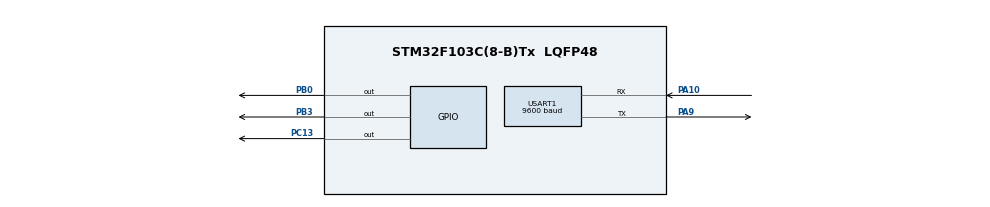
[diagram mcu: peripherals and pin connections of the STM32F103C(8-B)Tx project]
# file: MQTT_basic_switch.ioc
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Mcu.Family=STM32F1
PD1-OSC_OUT.Mode=HSE-External-Oscillator
PA10.Mode=Asynchronous
USART1.BaudRate=9600
PC13-TAMPER-RTC.Signal=GPIO_Output
NVIC.TIM1_UP_IRQn=true\:0\:0\:false\:false\:true\:true\:true
PD0-OSC_IN.Signal=RCC_OSC_IN
ProjectManager.StackSize=0x400
PD1-OSC_OUT.Signal=RCC_OSC_OUT
PA13.Signal=SYS_JTMS-SWDIO
PA9.Mode=Asynchronous
TIM1.Prescaler=1023
ProjectManager.TargetToolchain=STM32CubeIDE
PA9.Signal=USART1_TX
PD0-OSC_IN.Mode=HSE-External-Oscillator
board=custom
RCC.APB2Freq_Value=8000000
PA14.Mode=Serial_Wire
PA13.Mode=Serial_Wire
Mcu.Name=STM32F103C(8-B)Tx
VP_TIM1_VS_ClockSourceINT.Mode=Internal
PB3.Signal=GPIO_Output
Mcu.Package=LQFP48
USART1.VirtualMode=VM_ASYNC
PA10.Signal=USART1_RX
PA14.Signal=SYS_JTCK-SWCLK
ProjectManager.HeapSize=0x200
NVIC.PriorityGroup=NVIC_PRIORITYGROUP_4
NVIC.USART1_IRQn=true\:0\:0\:false\:false\:true\:true\:true
RCC.APB1Freq_Value=8000000
PB0.Signal=GPIO_Output

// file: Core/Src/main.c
/* USER CODE BEGIN Header */
/**
  ******************************************************************************
  * @file           : main.c
  * @brief          : Main program body
  ******************************************************************************
  * @attention
  *
  * <h2><center>&copy; Copyright (c) 2021 STMicroelectronics.
  * All rights reserved.</center></h2>
  *
  * This software component is licensed by ST under BSD 3-Clause license,
  * the "License"; You may not use this file except in compliance with the
  * License. You may obtain a copy of the License at:
  *                        opensource.org/licenses/BSD-3-Clause
  *
  ******************************************************************************
  */
/* USER CODE END Header */
#include "main.h"

/* USER CODE BEGIN Includes */

#include <string.h>

/* USER CODE END Includes */

TIM_HandleTypeDef htim1;

UART_HandleTypeDef huart1;

void SystemClock_Config(void);
static void MX_GPIO_Init(void);
static void MX_TIM1_Init(void);
static void MX_USART1_UART_Init(void);

int main(void)
{

  /* MCU Configuration--------------------------------------------------------*/

  /* Reset of all peripherals, Initializes the Flash interface and the Systick. */
  HAL_Init();

  /* Configure the system clock */
  SystemClock_Config();

  /* Initialize all configured peripherals */
  MX_GPIO_Init();
  MX_TIM1_Init();
  MX_USART1_UART_Init();

  /* Infinite loop */
  /* USER CODE BEGIN WHILE */

  extern uint8_t send_p;
  uint8_t server_URL[45] = "AT+CIPSTART=\"TCP\",\"broker.hivemq.com\",1883\r\n";

  //initialization MQTT
  uint8_t connection_send[16] = "AT+CIPSEND=14\r\n";
  uint8_t MQTT_start[15] = {0x10,0x0C,0x00,0x04,0x4D,0x51,0x54,0x54,0x04,0x02,0x00,0x3C,0x00,0x00};

  //sending message in topic

  uint8_t ping_send[15] = "AT+CIPSEND=2\r\n";
  uint8_t ping[3] = {0xC0, 0x00};

  //uint8_t on_send[16] = "AT+CIPSEND=14\r\n";
  //uint8_t on[15] = {0x30,0x0C,0x00,0x08,0x73,0x63,0x6F,0x6F,0x74,0x65,0x72,0x31,0x6F,0x6E};

  uint8_t buf[27];

  //hearing topic
  uint8_t subscribe_size[16] = "AT+CIPSEND=15\r\n";
  uint8_t subscribe[16] = {0x82,0x0D,0x00,0x01,0x00,0x08,0x73,0x63,0x6F,0x6F,0x74,0x65,0x72,0x31,0x00};

  HAL_GPIO_WritePin(GPIOB, GPIO_PIN_0, 0);
  HAL_GPIO_WritePin(GPIOB, GPIO_PIN_3, 1);

  //start
  HAL_Delay(15000);

  HAL_UART_Transmit_IT(&huart1, server_URL, 44);
  while( HAL_UART_GetState (&huart1) == HAL_UART_STATE_BUSY_TX );

  HAL_Delay(2000);

  HAL_UART_Transmit_IT(&huart1, connection_send, 15);
  while( HAL_UART_GetState (&huart1) == HAL_UART_STATE_BUSY_TX );

  HAL_Delay(2000);

  HAL_UART_Transmit_IT(&huart1, MQTT_start, 14);
  while( HAL_UART_GetState (&huart1) == HAL_UART_STATE_BUSY_TX );

  HAL_Delay(2000);

  HAL_UART_Transmit_IT(&huart1, subscribe_size, 15);
  while( HAL_UART_GetState (&huart1) == HAL_UART_STATE_BUSY_TX );

  HAL_Delay(2000);

  HAL_UART_Transmit_IT(&huart1, subscribe, 15);
  while( HAL_UART_GetState (&huart1) == HAL_UART_STATE_BUSY_TX );

  HAL_UART_AbortTransmit(&huart1);

  HAL_Delay(2000);

  HAL_GPIO_WritePin(GPIOB, GPIO_PIN_0, 1);
  HAL_GPIO_WritePin(GPIOB, GPIO_PIN_3, 0);

  //initialization timer 1
  HAL_TIM_Base_Start_IT(&htim1);

  while (1)
  {

	//wait until the symbol ";" arrives
	HAL_UART_Receive_IT (&huart1, buf, 1);
	while( HAL_UART_GetState (&huart1) == HAL_UART_STATE_BUSY_RX)
	{
	  if (send_p)
	  {
		  HAL_UART_AbortReceive(&huart1);

		  HAL_UART_Transmit_IT(&huart1, ping_send, 14);
		  while( HAL_UART_GetState (&huart1) == HAL_UART_STATE_BUSY_TX );

		  //HAL_Delay(2000);

		  HAL_UART_AbortTransmit(&huart1);
		  HAL_UART_Receive_IT (&huart1, buf, 14);
		  while( HAL_UART_GetState (&huart1) == HAL_UART_STATE_BUSY_RX );
		  HAL_UART_AbortReceive(&huart1);

		  HAL_UART_Transmit_IT(&huart1, ping, 2);
		  while( HAL_UART_GetState (&huart1) == HAL_UART_STATE_BUSY_TX );

		  send_p = 0;
		  HAL_UART_Receive_IT (&huart1, buf, 1);
	  }
	}

	if (buf[0] == ';')
	{
		HAL_UART_Receive_IT (&huart1, buf, 2);
		while( HAL_UART_GetState (&huart1) == HAL_UART_STATE_BUSY_RX );

		buf[2] = 0;//end \0 in string

		if (!strcmp(buf, "on"))
		{
			HAL_GPIO_WritePin (GPIOC, GPIO_PIN_13, 0);
		}
		else if (!strcmp(buf, "of"))
		{
			HAL_GPIO_WritePin (GPIOC, GPIO_PIN_13, 1);
		}
	}
    /* USER CODE END WHILE */

  }
}

void SystemClock_Config(void)
{
  RCC_OscInitTypeDef RCC_OscInitStruct = {0};
  RCC_ClkInitTypeDef RCC_ClkInitStruct = {0};

  /** Initializes the RCC Oscillators according to the specified parameters
  * in the RCC_OscInitTypeDef structure.
  */
  RCC_OscInitStruct.OscillatorType = RCC_OSCILLATORTYPE_HSI;
  RCC_OscInitStruct.HSIState = RCC_HSI_ON;
  RCC_OscInitStruct.HSICalibrationValue = RCC_HSICALIBRATION_DEFAULT;
  RCC_OscInitStruct.PLL.PLLState = RCC_PLL_NONE;
  if (HAL_RCC_OscConfig(&RCC_OscInitStruct) != HAL_OK)
  {
    Error_Handler();
  }
  /** Initializes the CPU, AHB and APB buses clocks
  */
  RCC_ClkInitStruct.ClockType = RCC_CLOCKTYPE_HCLK|RCC_CLOCKTYPE_SYSCLK
                              |RCC_CLOCKTYPE_PCLK1|RCC_CLOCKTYPE_PCLK2;
  RCC_ClkInitStruct.SYSCLKSource = RCC_SYSCLKSOURCE_HSI;
  RCC_ClkInitStruct.AHBCLKDivider = RCC_SYSCLK_DIV1;
  RCC_ClkInitStruct.APB1CLKDivider = RCC_HCLK_DIV1;
  RCC_ClkInitStruct.APB2CLKDivider = RCC_HCLK_DIV1;

  if (HAL_RCC_ClockConfig(&RCC_ClkInitStruct, FLASH_LATENCY_0) != HAL_OK)
  {
    Error_Handler();
  }
}

static void MX_TIM1_Init(void)
{

  TIM_ClockConfigTypeDef sClockSourceConfig = {0};
  TIM_MasterConfigTypeDef sMasterConfig = {0};

  htim1.Instance = TIM1;
  htim1.Init.Prescaler = 1023;
  htim1.Init.CounterMode = TIM_COUNTERMODE_UP;
  htim1.Init.Period = 65535;
  htim1.Init.ClockDivision = TIM_CLOCKDIVISION_DIV1;
  htim1.Init.RepetitionCounter = 0;
  htim1.Init.AutoReloadPreload = TIM_AUTORELOAD_PRELOAD_DISABLE;
  if (HAL_TIM_Base_Init(&htim1) != HAL_OK)
  {
    Error_Handler();
  }
  sClockSourceConfig.ClockSource = TIM_CLOCKSOURCE_INTERNAL;
  if (HAL_TIM_ConfigClockSource(&htim1, &sClockSourceConfig) != HAL_OK)
  {
    Error_Handler();
  }
  sMasterConfig.MasterOutputTrigger = TIM_TRGO_RESET;
  sMasterConfig.MasterSlaveMode = TIM_MASTERSLAVEMODE_DISABLE;
  if (HAL_TIMEx_MasterConfigSynchronization(&htim1, &sMasterConfig) != HAL_OK)
  {
    Error_Handler();
  }

}

static void MX_USART1_UART_Init(void)
{

  huart1.Instance = USART1;
  huart1.Init.BaudRate = 9600;
  huart1.Init.WordLength = UART_WORDLENGTH_8B;
  huart1.Init.StopBits = UART_STOPBITS_1;
  huart1.Init.Parity = UART_PARITY_NONE;
  huart1.Init.Mode = UART_MODE_TX_RX;
  huart1.Init.HwFlowCtl = UART_HWCONTROL_NONE;
  huart1.Init.OverSampling = UART_OVERSAMPLING_16;
  if (HAL_UART_Init(&huart1) != HAL_OK)
  {
    Error_Handler();
  }

}

static void MX_GPIO_Init(void)
{
  GPIO_InitTypeDef GPIO_InitStruct = {0};

  /* GPIO Ports Clock Enable */
  __HAL_RCC_GPIOC_CLK_ENABLE();
  __HAL_RCC_GPIOD_CLK_ENABLE();
  __HAL_RCC_GPIOB_CLK_ENABLE();
  __HAL_RCC_GPIOA_CLK_ENABLE();

  /*Configure GPIO pin Output Level */
  HAL_GPIO_WritePin(GPIOC, GPIO_PIN_13, GPIO_PIN_RESET);

  /*Configure GPIO pin Output Level */
  HAL_GPIO_WritePin(GPIOB, GPIO_PIN_0|GPIO_PIN_3, GPIO_PIN_RESET);

  /*Configure GPIO pin : PC13 */
  GPIO_InitStruct.Pin = GPIO_PIN_13;
  GPIO_InitStruct.Mode = GPIO_MODE_OUTPUT_PP;
  GPIO_InitStruct.Pull = GPIO_NOPULL;
  GPIO_InitStruct.Speed = GPIO_SPEED_FREQ_LOW;
  HAL_GPIO_Init(GPIOC, &GPIO_InitStruct);

  /*Configure GPIO pins : PB0 PB3 */
  GPIO_InitStruct.Pin = GPIO_PIN_0|GPIO_PIN_3;
  GPIO_InitStruct.Mode = GPIO_MODE_OUTPUT_PP;
  GPIO_InitStruct.Pull = GPIO_NOPULL;
  GPIO_InitStruct.Speed = GPIO_SPEED_FREQ_LOW;
  HAL_GPIO_Init(GPIOB, &GPIO_InitStruct);

}

void Error_Handler(void)
{
  __disable_irq();
  while (1)
  {
  }
}

/************************ (C) COPYRIGHT STMicroelectronics *****END OF FILE****/
